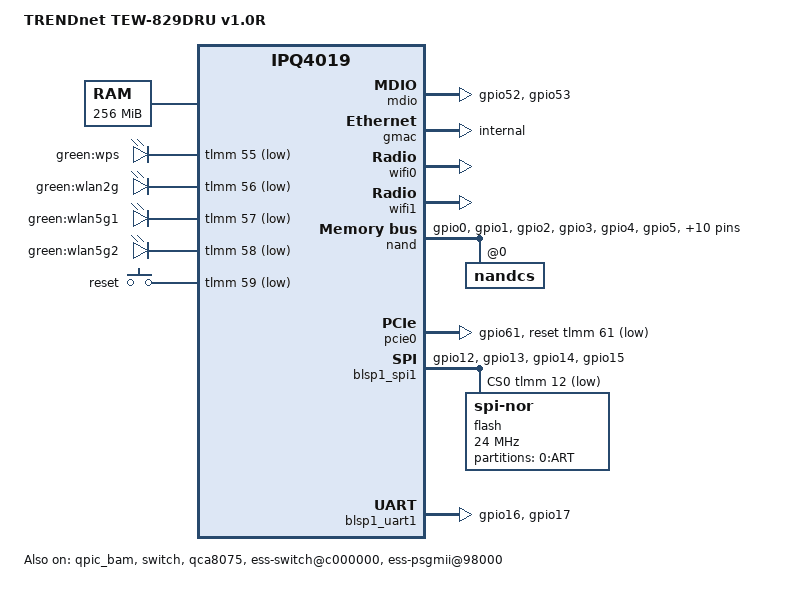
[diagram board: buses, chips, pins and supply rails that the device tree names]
/dts-v1/;

#include "qcom-ipq4019.dtsi"
#include <dt-bindings/gpio/gpio.h>
#include <dt-bindings/input/input.h>
#include <dt-bindings/soc/qcom,tcsr.h>

/ {
    model = "TRENDnet TEW-829DRU v1.0R";
    //model = "Qualcomm Technologies, Inc. IPQ40xx/AP-DK04.1-C1"; /* OEM line */
    compatible = "trendnet,tew-829dru", "qcom,ipq4019";

    aliases {
        label-mac-device = &gmac;
        led-boot = &led_wps;
        led-failsafe = &led_wps;
        led-running = &led_wps;
        led-upgrade = &led_wps;
        serial0 = &blsp1_uart2;
        ethernet0 = &gmac; /* Critical for MAC address inheritance on IPQ40xx */
    };   

    chosen {
        bootargs = "console=ttyMSM0,115200n8 clk_ignore_unused";
        stdout-path = "serial0:115200n8";
    };

    memory@80000000 {
        device_type = "memory";
        reg = <0x80000000 0x10000000>; /* 256MB */
    };
	
	cpus {
		#address-cells = <0x01>;
		#size-cells = <0x00>;

		cpu@0 {
			device_type = "cpu";
			compatible = "arm,cortex-a7";
			enable-method = "qcom,arm-cortex-acc";
			reg = <0x00>;
			clocks = <0x02 0x09>;
			clock-frequency = <0x00>;
		};

		cpu@1 {
			device_type = "cpu";
			compatible = "arm,cortex-a7";
			enable-method = "qcom,arm-cortex-acc";
			reg = <0x01>;
			clocks = <0x02 0x09>;
			clock-frequency = <0x00>;
		};

		cpu@2 {
			device_type = "cpu";
			compatible = "arm,cortex-a7";
			enable-method = "qcom,arm-cortex-acc";
			reg = <0x02>;
			clocks = <0x02 0x09>;
			clock-frequency = <0x00>;
		};

		cpu@3 {
			device_type = "cpu";
			compatible = "arm,cortex-a7";
			enable-method = "qcom,arm-cortex-acc";
			reg = <0x03>;
			clocks = <0x02 0x09>;
			clock-frequency = <0x00>;
		};
		
		ess_psgmii: psgmii@98000 {
            compatible = "qcom,ess-psgmii";
            reg = <0x98000 0x800>;
            psgmii_access_mode = "local bus";
            resets = <&gcc ESS_PSGMII_ARES>;
            reset-names = "psgmii_rst";
        };
	};

	/* --- Standard OpenWrt Method: Modify existing nodes from .dtsi --- */
	soc {

		mdio: mdio@90000 {
			#address-cells = <1>;
			#size-cells = <0>;
			compatible = "qcom,ipq4019-mdio";
			reg = <0x90000 0x64>;
			status = "okay";
		};

		ess-switch@c000000 {
			compatible = "qcom,ipq4019-qca8337n";
			reg = <0xc000000 0x80000>, <0x98000 0x800>;
			reg-names = "base", "psgmii_phy";
			resets = <&gcc ESS_RESET>;
			reset-names = "ess_rst";
			clocks = <&gcc GCC_ESS_CLK>;
			clock-names = "ess_clk";
			switch_cpu_bmp = <0x1>;
			switch_lan_bmp = <0x1fe>;
			switch_mac_mode = <0>;
			psgmii-ethphy = <&psgmiiphy>;
			mdio = <&mdio>; /* ADD THIS LINE */
			status = "okay";
		};

		ess-psgmii@98000 {
			compatible = "qcom,ess-psgmii";
			reg = <0x98000 0x800>;
			status = "okay";
		};

		gmac: ethernet@c080000 {
			compatible = "qcom,ess-edma";
			reg = <0xc080000 0x8000>;
			qcom,mdio_supported;
			qcom,num_gmac = <2>;
			interrupts = <0 65 IRQ_TYPE_EDGE_RISING>, <0 66 IRQ_TYPE_EDGE_RISING>, <0 67 IRQ_TYPE_EDGE_RISING>, <0 68 IRQ_TYPE_EDGE_RISING>, <0 69 IRQ_TYPE_EDGE_RISING>, <0 70 IRQ_TYPE_EDGE_RISING>, <0 71 IRQ_TYPE_EDGE_RISING>, <0 72 IRQ_TYPE_EDGE_RISING>, <0 73 IRQ_TYPE_EDGE_RISING>, <0 74 IRQ_TYPE_EDGE_RISING>, <0 75 IRQ_TYPE_EDGE_RISING>, <0 76 IRQ_TYPE_EDGE_RISING>, <0 77 IRQ_TYPE_EDGE_RISING>, <0 78 IRQ_TYPE_EDGE_RISING>, <0 79 IRQ_TYPE_EDGE_RISING>, <0 80 IRQ_TYPE_EDGE_RISING>, <0 240 IRQ_TYPE_EDGE_RISING>, <0 241 IRQ_TYPE_EDGE_RISING>, <0 242 IRQ_TYPE_EDGE_RISING>, <0 243 IRQ_TYPE_EDGE_RISING>, <0 244 IRQ_TYPE_EDGE_RISING>, <0 245 IRQ_TYPE_EDGE_RISING>, <0 246 IRQ_TYPE_EDGE_RISING>, <0 247 IRQ_TYPE_EDGE_RISING>, <0 248 IRQ_TYPE_EDGE_RISING>, <0 249 IRQ_TYPE_EDGE_RISING>, <0 250 IRQ_TYPE_EDGE_RISING>, <0 251 IRQ_TYPE_EDGE_RISING>, <0 252 IRQ_TYPE_EDGE_RISING>, <0 253 IRQ_TYPE_EDGE_RISING>, <0 254 IRQ_TYPE_EDGE_RISING>, <0 255 IRQ_TYPE_EDGE_RISING>;
			status = "okay";

			gmac0: gmac0 {
				local-mac-address = [00 00 00 00 00 00];
				vlan_tag = <1 0x1fe>;
			};

			gmac1: gmac1 {
				local-mac-address = [00 00 00 00 00 00];
				vlan_tag = <2 0x20>;
			};
		};  

		/* Wi-Fi Global Control */
		wifi_glb_tcsr: tcsr@1949000 {
			compatible = "qcom,tcsr";
			reg = <0x1949000 0x100>;
			qcom,wifi_glb_cfg = <0x41000000>; /* Add this line from OEM */
		};
		/* Wi-Fi NOC Memory Type */
		wifi_noc_memtype_m0_m2_tcsr: tcsr@1957000 {
			compatible = "qcom,tcsr";
			reg = <0x1957000 0x100>;
			qcom,wifi_noc_memtype_m0_m2 = <0x2222222>; /* Add this line from OEM */
		};
		/* Wi-Fi 0 (2.4GHz and 5GHz Low) */
		wifi0: wifi@a000000 {
			compatible = "qca,wifi-ipq40xx";
			reg = <0xa000000 0x200000>;
			core-id = <0>;
			/* Use symbolic references from ipq4019.dtsi */
			resets = <&gcc WIFI0_CPU_INIT_RESET>,
					 <&gcc WIFI0_RADIO_SRIF_RESET>,
					 <&gcc WIFI0_RADIO_WARM_RESET>,
					 <&gcc WIFI0_RADIO_COLD_RESET>,
					 <&gcc WIFI0_CORE_WARM_RESET>,
					 <&gcc WIFI0_CORE_COLD_RESET>;
			reset-names = "wifi_cpu_init",
						  "wifi_radio_srif",
						  "wifi_radio_warm",
						  "wifi_radio_cold",
						  "wifi_core_warm",
						  "wifi_core_cold";
			clocks = <&gcc GCC_WCSS2G_CLK>,
					 <&gcc GCC_WCSS2G_REF_CLK>,
					 <&gcc GCC_WCSS2G_RTC_CLK>;
			clock-names = "wifi_wcss_cmd", "wifi_wcss_ref", "wifi_wcss_rtc";
			interrupts = <0 0x20 0x1>,
						 <0 0x21 0x1>,
						 <0 0x22 0x1>,
						 <0 0x23 0x1>,
						 <0 0x24 0x1>,
						 <0 0x25 0x1>,
						 <0 0x26 0x1>,
						 <0 0x27 0x1>,
						 <0 0x28 0x1>,
						 <0 0x29 0x1>,
						 <0 0x2a 0x1>,
						 <0 0x2b 0x1>,
						 <0 0x2c 0x1>,
						 <0 0x2d 0x1>,
						 <0 0x2e 0x1>,
						 <0 0x2f 0x1>,
						 <0 0xa8 0x0>;
			interrupt-names = "msi0", "msi1", "msi2", "msi3", "msi4", "msi5", "msi6",
							  "msi7", "msi8", "msi9", "msi10", "msi11", "msi12", "msi13",
							  "msi14", "msi15", "legacy";
			status = "okay";
			qca,msi_addr = <0xb006040>;
			qca,msi_base = <0x40>;
			wifi_led_num = <2>;
			wifi_led_source = <0>;
		};
		/* Wi-Fi 1 (5GHz High - QCA9984) */
		wifi1: wifi@a800000 {
			compatible = "qca,wifi-ipq40xx";
			reg = <0xa800000 0x200000>;
			core-id = <1>;
			resets = <&gcc WIFI1_CPU_INIT_RESET>,
					 <&gcc WIFI1_RADIO_SRIF_RESET>,
					 <&gcc WIFI1_RADIO_WARM_RESET>,
					 <&gcc WIFI1_RADIO_COLD_RESET>,
					 <&gcc WIFI1_CORE_WARM_RESET>,
					 <&gcc WIFI1_CORE_COLD_RESET>;
			reset-names = "wifi_cpu_init",
						  "wifi_radio_srif",
						  "wifi_radio_warm",
						  "wifi_radio_cold",
						  "wifi_core_warm",
						  "wifi_core_cold";
			clocks = <&gcc GCC_WCSS5G_CLK>,
					 <&gcc GCC_WCSS5G_REF_CLK>,
					 <&gcc GCC_WCSS5G_RTC_CLK>;
			clock-names = "wifi_wcss_cmd", "wifi_wcss_ref", "wifi_wcss_rtc";
			interrupts = <0 0x30 0x1>,
						 <0 0x31 0x1>,
						 <0 0x32 0x1>,
						 <0 0x33 0x1>,
						 <0 0x34 0x1>,
						 <0 0x35 0x1>,
						 <0 0x36 0x1>,
						 <0 0x37 0x1>,
						 <0 0x38 0x1>,
						 <0 0x39 0x1>,
						 <0 0x3a 0x1>,
						 <0 0x3b 0x1>,
						 <0 0x3c 0x1>,
						 <0 0x3d 0x1>,
						 <0 0x3e 0x1>,
						 <0 0x3f 0x1>,
						 <0 0xa9 0x0>;
			interrupt-names = "msi0", "msi1", "msi2", "msi3", "msi4", "msi5", "msi6",
							  "msi7", "msi8", "msi9", "msi10", "msi11", "msi12", "msi13",
							  "msi14", "msi15", "legacy";
			status = "okay";
			qca,msi_addr = <0xb006040>;
			qca,msi_base = <0x50>;
			wifi_led_num = <1>;
			wifi_led_source = <2>;
		};
	};

    /* GPIO LEDs */
    leds {
        compatible = "gpio-leds";
        pinctrl-0 = <&led_pins>;
        pinctrl-names = "default";

        led_wps: led-wps {
            label = "green:wps";
            gpios = <&tlmm 55 GPIO_ACTIVE_LOW>;
            linux,default-trigger = "default-on";
        };
        led_2g: led-2g {
            label = "green:wlan2g";
            gpios = <&tlmm 56 GPIO_ACTIVE_LOW>;
            linux,default-trigger = "phy0tpt";
        };
        led_5g1: led-5g1 {
            label = "green:wlan5g1";
            gpios = <&tlmm 57 GPIO_ACTIVE_LOW>;
            linux,default-trigger = "phy1tpt";
        };
        led_5g2: led-5g2 {
            label = "green:wlan5g2";
            gpios = <&tlmm 58 GPIO_ACTIVE_LOW>;
            linux,default-trigger = "phy2tpt";
        };
    };

    /* GPIO Buttons */
    keys {
        compatible = "gpio-keys";
        pinctrl-0 = <&button_pins>;
        pinctrl-names = "default";

        button_reset: button-reset {
            label = "reset";
            gpios = <&tlmm 59 GPIO_ACTIVE_LOW>;
            linux,code = <KEY_RESTART>;
        };
    };
};

/* NAND Flash */
&nand {
	status = "okay";
	pinctrl-0 = <&nand_pins>;
	pinctrl-names = "default";

    nandcs@0 {
        reg = <0>; /* Chip-select number */
    };

	partitions {
		compatible = "fixed-partitions";
		#address-cells = <1>;
		#size-cells = <1>;

		/* This is the single MTD partition that holds the entire UBI container */
		partition@800000 {
			label = "ubi";
			reg = <0x00800000 0x07800000>; /* Start after bootloader, use remaining space */
		};
	};
};

// QPIC BAM - req'd for nand
&qpic_bam {
    status = "okay";
    qcom,ee = <0>;
};   

/* PCIe for QCA9984 */
&pcie0 {
	status = "okay";
	pinctrl-0 = <&pcie0_pins>;
	pinctrl-names = "default";
	reset-gpio = <&tlmm 61 GPIO_ACTIVE_LOW>;
};



&blsp1_spi1 {
	status = "okay";
	pinctrl-0 = <&spi_0_pins>;
	pinctrl-names = "default";
	cs-gpios = <&tlmm 12 GPIO_ACTIVE_LOW>;

	flash@0 {
		compatible = "jedec,spi-nor";
		reg = <0>;
		spi-max-frequency = <24000000>;

		partitions {
			compatible = "fixed-partitions";
			#address-cells = <1>;
			#size-cells = <1>;

			partition-art {
				label = "0:ART";
				nvmem-layout {
					compatible = "fixed-layout";
					#address-cells = <1>;
					#size-cells = <1>;

					macaddr_gmac0: macaddr@0 {
						reg = <0x0 0x6>;
					};
					macaddr_gmac1: macaddr@6 {
						reg = <0x6 0x6>;
					};
					precal_art_1000: precal@1000 {
						reg = <0x1000 0x2f20>;
					};
					precal_art_5000: precal@5000 {
						reg = <0x5000 0x2f20>;
					};
					precal_art_9000: precal@9000 {
						reg = <0x9000 0x2f20>;
					};
				};
			};
		};
	};
};
/* Serial Console */
&blsp1_uart1 {
	pinctrl-0 = <&serial_pins>;
	pinctrl-names = "default";
	status = "okay";
};

/*&blsp1_uart2 {
    status = "okay";
    pinctrl-0 = <&serial_pins>;
    pinctrl-names = "default";
    clocks = <&gcc GCC_BLSP1_UART2_APPS_CLK>;
    clock-names = "core";
    resets = <&gcc GCC_BLSP1_UART2_BCR>;
    reset-names = "m";
};*/

/* Pinmux */
&tlmm {
    /* SPI 0 Pinmux (from OEM) */
    spi_0_pins: spi_0_pinmux {
        mux {
            pins = "gpio12", "gpio13", "gpio14", "gpio15";
            function = "blsp_spi0";
            bias-disable;
        };
    };

    /* NAND Pinmux (standard for IPQ4019) */
    nand_pins: nand_pins {
        mux {
            pins = "gpio0", "gpio1", "gpio2", "gpio3", "gpio4", "gpio5", "gpio6", "gpio7",
                   "gpio8", "gpio9", "gpio10", "gpio11", "gpio12", "gpio13", "gpio14", "gpio15";
            function = "nand";
            drive-strength = <2>;
            bias-pull-up;
        };
    };

    /* PCIe 0 Pinmux (standard for IPQ4019) */
    pcie0_pins: pcie0_pins {
        mux {
            pins = "gpio61";
            function = "gpio";
            drive-strength = <2>;
            bias-pull-up;
        };
    };
	
	/* MDIO pins - mind the wrapper (not the rapper) */
    mdio_pins: mdio-pinmux {
        mdc-pins {
            pins = "gpio52";
            function = "mdc";
            bias-pull-up;
        };
        mdio-pins {
            pins = "gpio53";
            function = "mdio";
            bias-pull-up;
        };
    };

	/* PSGMII pins */
	psgmii_pins: psgmii_pins {
		mux {
			pins = "gpio28", "gpio29", "gpio30", "gpio31",
			       "gpio32", "gpio33", "gpio34", "gpio35",
			       "gpio36", "gpio37", "gpio38", "gpio39";
			function = "psgmii";
		};
	};

    /* RGMII Pinmux for GMAC1 (QCA8337 Switch) */
    rgmii_pins: rgmii_pins {
        mux {
            pins = "gpio40", "gpio41", "gpio42", "gpio43",
                   "gpio44", "gpio45", "gpio46", "gpio47",
                   "gpio48", "gpio49", "gpio50", "gpio51";
            function = "rgmii";
            drive-strength = <2>;
            bias-pull-up;
        };
    };

    /* SGMII Pinmux for GMAC2 (LAN) */
    sgmii_pins: sgmii_pins {
        mux {
            pins = "gpio40", "gpio41", "gpio42", "gpio43", "gpio44", "gpio45";
            function = "sgmii";
            drive-strength = <2>;
            bias-pull-up;
        };
    };

    /* UART Pinmux (from OEM) */
    serial_pins: serial0_pinmux {
        mux {
            pins = "gpio16", "gpio17";
            function = "blsp_uart0";
            bias-disable;
        };
    };
	
	led_pins: led_pins {
    };

    button_pins: button_pins {
    };
};









// LAN Ports (8) + WAN Ports (2) - Handled by IPQ4019 Internal GMACs
&gmac {
    status = "okay";
    phy-mode = "internal";
};   

&gmac0 {
    status = "okay";
    phy-mode = "rgmii";
    /* IPQ40xx typically requires specific delays for RGMII */
    tx-internal-delay-ps = <1000>;
    rx-internal-delay-ps = <1000>;
    
    /* Connect to the first port of the switch node defined below */
    //nvmem-cells = <&macaddr_config_0>; /* Optional: if using nvmem for MAC */
    //nvmem-cell-names = "mac-address";

    fixed-link {
        speed = <1000>;
        full-duplex;
        pause;
    };
};

// Ensure GMAC1 is enabled for RGMII
&gmac1 {
    status = "okay";
    phy-mode = "rgmii";
    tx-internal-delay-ps = <1000>;
    rx-internal-delay-ps = <1000>;
    /* Ensure clocks are enabled if your SoC DTSI doesn't do it by default */
    /* clocks = <&gcc GCC_GPSS0_CFG_AHB_CLK>, <&gcc GCC_GPSS0_CFG_M_CLK>, <&gcc GCC_GPSS0_CFG_SLAVE_M_CLK>; */
    
    /* Do NOT put fixed-link here if the switch port defines it */
};

// This node is OUTSIDE the 'soc' block
// LAN Ports (8) - Handled by QCA8337
// Enable the internal switch fabric
// Define the primary QCA8337 switch
&switch {
    status = "okay";
    compatible = "qca,qca8337";
    reset-gpios = <&tlmm 52 GPIO_ACTIVE_LOW>;
    ports {
        #address-cells = <1>;
        #size-cells = <0>;

        /* CPU Port: Connects to GMAC1 */
        port@0 {
            reg = <0>;
            label = "cpu";
            ethernet = <&gmac1>;
            fixed-link { speed = <1000>; full-duplex; pause; };
        };

        /* WAN and LAN Ports on QCA8337 */
        port@1 { reg = <1>; label = "wan2"; };
        port@2 { reg = <2>; label = "wan1"; };
        port@3 { reg = <3>; label = "lan1"; };
        port@4 { reg = <4>; label = "lan2"; };
        port@5 { reg = <5>; label = "lan3"; };

        /* Port 6: Connects to the QCA8075 switch */
        port@6 {
            reg = <6>;
            label = "cpu";
            ethernet = <&gmac0>; /* Uses the second GMAC */
            fixed-link { speed = <1000>; full-duplex; pause; };
        };
    };
};

// Define the secondary QCA8075 switch
&qca8075 {
    status = "okay";
    ports {
        #address-cells = <1>;
        #size-cells = <0>;

        /* CPU Port: Connects to QCA8337 port 6 */
        port@0 {
            reg = <0>;
            label = "cpu";
            ethernet = <&gmac0>;
            fixed-link { speed = <1000>; full-duplex; pause; };
        };

        /* LAN Ports on QCA8075 */
        port@1 { reg = <1>; label = "lan4"; };
        port@2 { reg = <2>; label = "lan5"; };
        port@3 { reg = <3>; label = "lan6"; };
        port@4 { reg = <4>; label = "lan7"; };
        port@5 { reg = <5>; label = "lan8"; };
    };
};   



// Ensure the external MDIO bus is enabled for the QCA8075 WAN PHY (if present)
&mdio {
    status = "okay";
    pinctrl-0 = <&mdio_pins>;
    pinctrl-names = "default";
    
    // Define the QCA8075 WAN PHY here if your board has one
    // phy0: ethernet-phy@0 { reg = <0>; compatible = "ethernet-phy-id004d.d0b1"; };
	// Ensure the external MDIO bus is enabled
    //psgmiiphy: psgmii-phy@5 {
    //    reg = <5>;
    //};
};

